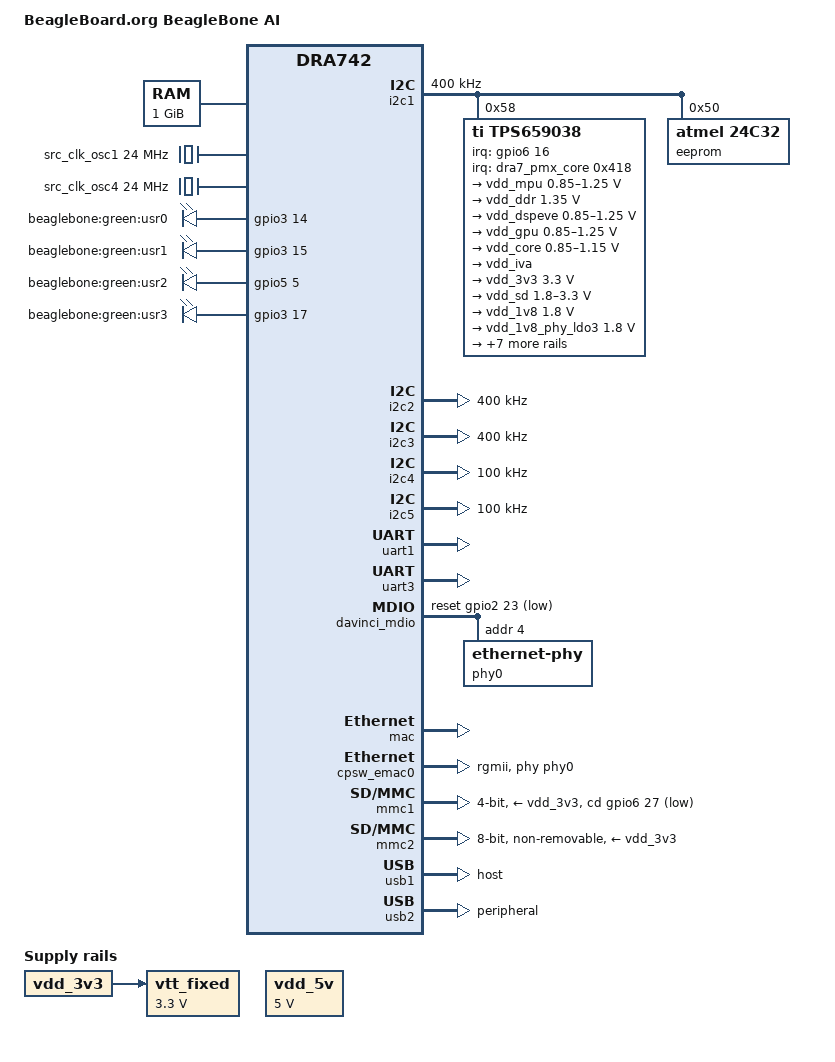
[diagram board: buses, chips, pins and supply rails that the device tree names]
/*
 * Copyright (C) 2014-2018 Texas Instruments Incorporated - http://www.ti.com/
 *
 * This program is free software; you can redistribute it and/or modify
 * it under the terms of the GNU General Public License version 2 as
 * published by the Free Software Foundation.
 */
/dts-v1/;

#include "dra74x.dtsi"
#include "am57xx-commercial-grade.dtsi"
#include "dra74x-mmc-iodelay.dtsi"
#include <dt-bindings/gpio/gpio.h>
#include <dt-bindings/interrupt-controller/irq.h>
#include <dt-bindings/pinctrl/dra.h>

/ {
	model = "BeagleBoard.org BeagleBone AI";
	compatible = "beagleboard.org,am57xx-beagleboneai", "ti,am5728", "ti,dra742", "ti,dra74", "ti,dra7";

	chosen {
		stdout-path = &uart1;
	};

	memory@0 {
		device_type = "memory";
		reg = <0x0 0x80000000 0x0 0x40000000>;
	};

	vdd_5v: fixedregulator-vdd_5v {
		compatible = "regulator-fixed";
		regulator-name = "vdd_5v";
		regulator-min-microvolt = <5000000>;
		regulator-max-microvolt = <5000000>;
		regulator-always-on;
		regulator-boot-on;
	};

	vtt_fixed: fixedregulator-vtt {
		/* TPS51200 */
		compatible = "regulator-fixed";
		regulator-name = "vtt_fixed";
		vin-supply = <&vdd_3v3>;
		regulator-min-microvolt = <3300000>;
		regulator-max-microvolt = <3300000>;
		regulator-always-on;
		regulator-boot-on;
	};

	src_clk_x1: src_clk_x1 {
		#clock-cells = <0>;
		compatible = "fixed-clock";
		clock-frequency = <20000000>;
	};

	src_clk_osc1: src_clk_osc1 {
		#clock-cells = <0>;
		compatible = "fixed-clock";
		clock-frequency = <24000000>;
	};

	src_clk_osc4: src_clk_osc4 {
        	#clock-cells = <0>;
        	compatible = "fixed-clock";
        	clock-frequency = <24000000>;
    	};

	leds {
		compatible = "gpio-leds";

		led0 {
			label = "beaglebone:green:usr0";
			gpios = <&gpio3 14 GPIO_ACTIVE_HIGH>;
			linux,default-trigger = "heartbeat";
			default-state = "off";
		};

		led1 {
			label = "beaglebone:green:usr1";
			gpios = <&gpio3 15 GPIO_ACTIVE_HIGH>;
			linux,default-trigger = "mmc0";
			default-state = "off";
		};

		led2 {
			label = "beaglebone:green:usr2";
			gpios = <&gpio5 5 GPIO_ACTIVE_HIGH>;
			linux,default-trigger = "cpu";
			default-state = "off";
		};

		led3 {
			label = "beaglebone:green:usr3";
			gpios = <&gpio3 17 GPIO_ACTIVE_HIGH>;
			linux,default-trigger = "mmc1";
			default-state = "off";
		};
	};
};

&i2c1 {
	status = "okay";
	clock-frequency = <400000>;

	tps659038: tps659038@58 {
		compatible = "ti,tps659038";
		reg = <0x58>;
		interrupts-extended = <&gpio6 16 IRQ_TYPE_LEVEL_HIGH
			&dra7_pmx_core 0x418>;

		#interrupt-cells = <2>;
		interrupt-controller;

		ti,system-power-controller;
		ti,palmas-override-powerhold;

		tps659038_pmic {
			compatible = "ti,tps659038-pmic";

			smps12-in-supply = <&vdd_5v>;
			smps3-in-supply = <&vdd_5v>;
			smps45-in-supply = <&vdd_5v>;
			smps6-in-supply = <&vdd_5v>;
			smps7-in-supply = <&vdd_5v>;
			mps3-in-supply = <&vdd_5v>;
			smps8-in-supply = <&vdd_5v>;
			smps9-in-supply = <&vdd_5v>;
			ldo1-in-supply = <&vdd_5v>;
			ldo2-in-supply = <&vdd_5v>;
			ldo3-in-supply = <&vdd_5v>;
			ldo4-in-supply = <&vdd_5v>;
			ldo9-in-supply = <&vdd_5v>;
			ldoln-in-supply = <&vdd_5v>;
			ldousb-in-supply = <&vdd_5v>;
			ldortc-in-supply = <&vdd_5v>;

			regulators {
				vdd_mpu: smps12 {
					/* VDD_MPU */
					regulator-name = "smps12";
					regulator-min-microvolt = <850000>;
					regulator-max-microvolt = <1250000>;
					regulator-always-on;
					regulator-boot-on;
				};

				vdd_ddr: smps3 {
					/* VDD_DDR EMIF1 EMIF2 */
					regulator-name = "smps3";
					regulator-min-microvolt = <1350000>;
					regulator-max-microvolt = <1350000>;
					regulator-always-on;
					regulator-boot-on;
				};

				vdd_dspeve: smps45 {
					/* VDD_DSPEVE on AM572 */
					/* VDD_IVA + VDD_DSP on AM571 */
					regulator-name = "smps45";
					regulator-min-microvolt = <850000>;
					regulator-max-microvolt = <1250000>;
					regulator-always-on;
					regulator-boot-on;
				};

				vdd_gpu: smps6 {
					/* VDD_GPU */
					regulator-name = "smps6";
					regulator-min-microvolt = <850000>;
					regulator-max-microvolt = <1250000>;
					regulator-always-on;
					regulator-boot-on;
				};

				vdd_core: smps7 {
					/* VDD_CORE */
					regulator-name = "smps7";
					regulator-min-microvolt = <850000>;	/*** 1.15V */
					regulator-max-microvolt = <1150000>;
					regulator-always-on;
					regulator-boot-on;
				};

				vdd_iva: smps8 {
					/* 5728 - VDD_IVAHD */			/*** 1.06V */
					/* 5718 - N.C. test point */
					regulator-name = "smps8";
				};

				vdd_3v3: smps9 {
					/* VDD_3V3 */
					regulator-name = "smps9";
					regulator-min-microvolt = <3300000>;
					regulator-max-microvolt = <3300000>;
					regulator-always-on;
					regulator-boot-on;
				};

				vdd_sd: ldo1 {
					/* VDDSHV8 - VSDMMC  */
					regulator-name = "ldo1";
					regulator-min-microvolt = <1800000>;
					regulator-max-microvolt = <3300000>;
					regulator-boot-on;
					regulator-always-on;
				};

				vdd_1v8: ldo2 {
					/* VDDSH18V */
					regulator-name = "ldo2";
					regulator-min-microvolt = <1800000>;
					regulator-max-microvolt = <1800000>;
					regulator-always-on;
					regulator-boot-on;
				};

				vdd_1v8_phy_ldo3: ldo3 {
					/* R1.3a 572x V1_8PHY_LDO3: USB, SATA */
					regulator-name = "ldo3";
					regulator-min-microvolt = <1800000>;
					regulator-max-microvolt = <1800000>;
					regulator-always-on;
					regulator-boot-on;
				};

				vdd_1v8_phy_ldo4: ldo4 {
					/* R1.3a 572x V1_8PHY_LDO4: PCIE, HDMI*/
					regulator-name = "ldo4";
					regulator-min-microvolt = <1800000>;
					regulator-max-microvolt = <1800000>;
					regulator-always-on;
					regulator-boot-on;
				};

				/* LDO5-8 unused */

				vdd_rtc: ldo9 {
					/* VDD_RTC  */
					regulator-name = "ldo9";
					regulator-min-microvolt = <840000>;
					regulator-max-microvolt = <1160000>;
					regulator-always-on;
					regulator-boot-on;
				};

				vdd_1v8_pll: ldoln {
					/* VDDA_1V8_PLL */
					regulator-name = "ldoln";
					regulator-min-microvolt = <1800000>;
					regulator-max-microvolt = <1800000>;
					regulator-always-on;
					regulator-boot-on;
				};

				ldousb_reg: ldousb {
					/* VDDA_3V_USB: VDDA_USBHS33 */
					regulator-name = "ldousb";
					regulator-min-microvolt = <3300000>;
					regulator-max-microvolt = <3300000>;
					regulator-always-on;
					regulator-boot-on;
				};

				ldortc_reg: ldortc {
					/* VDDA_RTC  */
					regulator-name = "ldortc";
					regulator-min-microvolt = <1800000>;
					regulator-max-microvolt = <1800000>;
					regulator-always-on;
					regulator-boot-on;
				};

				regen1: regen1 {
					/* VDD_3V3_ON */
					regulator-name = "regen1";
					regulator-boot-on;
					regulator-always-on;
				};

				regen2: regen2 {
					/* Needed for PMIC internal resource */
					regulator-name = "regen2";
					regulator-boot-on;
					regulator-always-on;
				};
			};
		};

		tps659038_rtc: tps659038_rtc {
			compatible = "ti,palmas-rtc";
			interrupt-parent = <&tps659038>;
			interrupts = <8 IRQ_TYPE_EDGE_FALLING>;
			wakeup-source;
		};

		tps659038_pwr_button: tps659038_pwr_button {
			compatible = "ti,palmas-pwrbutton";
			interrupt-parent = <&tps659038>;
			interrupts = <1 IRQ_TYPE_EDGE_FALLING>;
			wakeup-source;
			ti,palmas-long-press-seconds = <12>;
		};

		tps659038_gpio: tps659038_gpio {
			compatible = "ti,palmas-gpio";
			gpio-controller;
			#gpio-cells = <2>;
		};

		extcon_usb2: tps659038_usb {
			compatible = "ti,palmas-usb-vid";
		};

	};

	eeprom: eeprom@50 {
		compatible = "atmel,24c32";
		reg = <0x50>;
	};
};

&i2c2 {
	status = "okay";
	clock-frequency = <400000>;
};

&i2c3 {
	status = "okay";
	clock-frequency = <400000>;
};

&i2c4 {
	status = "okay";
	clock-frequency = <100000>;
};

&i2c5 {
	status = "okay";
	clock-frequency = <100000>;
};

&cpu0 {
	vdd-supply = <&vdd_mpu>;
	voltage-tolerance = <1>;
};

&uart1 {
	status = "okay";
	interrupts-extended = <&crossbar_mpu GIC_SPI 67 IRQ_TYPE_LEVEL_HIGH>,
			      <&dra7_pmx_core 0x3e0>;
};

&uart3 {
	status = "okay";
	interrupts-extended = <&crossbar_mpu GIC_SPI 69 IRQ_TYPE_LEVEL_HIGH>,
			      <&dra7_pmx_core 0x3f8>;
};

&davinci_mdio {
	reset-gpios = <&gpio2 23 GPIO_ACTIVE_LOW>;
	reset-delay-us = <2>;

	phy0: ethernet-phy@1 {
		reg = <4>;
	};
};

&mac {
	slaves = <1>;
	status = "okay";
	//dual_emac;
};

&cpsw_emac0 {
	phy-handle = <&phy0>;
	phy-mode = "rgmii";
	//dual_emac_res_vlan = <1>;
};

&mmc1 {
	status = "okay";
	vmmc-supply = <&vdd_3v3>;
	vmmc_aux-supply = <&vdd_sd>;
	vqmmc-supply = <&vdd_sd>;  /* IO Line Power */
	bus-width = <4>;
	max-frequency = <24000000>;
	cd-gpios = <&gpio6 27 GPIO_ACTIVE_LOW>; /* gpio 219 */

	pinctrl-names = "default", "hs", "sdr12", "sdr25", "sdr50", "ddr50", "sdr104";
	pinctrl-0 = <&mmc1_pins_default>;
	pinctrl-1 = <&mmc1_pins_hs>;
	pinctrl-2 = <&mmc1_pins_sdr12>;
	pinctrl-3 = <&mmc1_pins_sdr25>;
	pinctrl-4 = <&mmc1_pins_sdr50>;
	pinctrl-5 = <&mmc1_pins_ddr50 &mmc1_iodelay_ddr_rev20_conf>;
	pinctrl-6 = <&mmc1_pins_sdr104 &mmc1_iodelay_sdr104_rev20_conf>;
};

&mmc2 {
	status = "okay";
	vmmc-supply = <&vdd_3v3>;
	//FUTURE: vqmmc-supply = <&vdd_3v3>; /* IO Line Power */
	bus-width = <8>;
	ti,non-removable;
	non-removable;
	max-frequency = <96000000>;
	no-1-8-v;
	/delete-property/ mmc-hs200-1_8v;

	pinctrl-names = "default", "hs";
	pinctrl-0 = <&mmc2_pins_default>;
	pinctrl-1 = <&mmc2_pins_hs>;
};

&usb2_phy1 {
	phy-supply = <&ldousb_reg>;
};

&usb2_phy2 {
	phy-supply = <&ldousb_reg>;
};

&usb1 {
	dr_mode = "host";
};

&omap_dwc3_2 {
	extcon = <&extcon_usb2>;
};

&usb2 {
	dr_mode = "peripheral";
};

&cpu_trips {
	cpu_alert1: cpu_alert1 {
		temperature = <50000>; /* millicelsius */
		hysteresis = <2000>; /* millicelsius */
		type = "active";
	};
};

&cpu_cooling_maps {
	map1 {
		trip = <&cpu_alert1>;
	};
};

&thermal_zones {
	board_thermal: board_thermal {
		polling-delay-passive = <1250>; /* milliseconds */
		polling-delay = <1500>; /* milliseconds */

		board_trips: trips {
			board_alert0: board_alert {
				temperature = <40000>; /* millicelsius */
				hysteresis = <2000>; /* millicelsius */
				type = "active";
			};

			board_crit: board_crit {
				temperature = <105000>; /* millicelsius */
				hysteresis = <0>; /* millicelsius */
				type = "critical";
			};
		};

		board_cooling_maps: cooling-maps {
			map0 {
				trip = <&board_alert0>;
			};
		};
       };
};

&mailbox5 {
	status = "okay";
	mbox_ipu1_ipc3x: mbox_ipu1_ipc3x {
		status = "okay";
	};
	mbox_dsp1_ipc3x: mbox_dsp1_ipc3x {
		status = "okay";
	};
};

&mailbox6 {
	status = "okay";
	mbox_ipu2_ipc3x: mbox_ipu2_ipc3x {
		status = "okay";
	};
	mbox_dsp2_ipc3x: mbox_dsp2_ipc3x {
		status = "okay";
	};
};
